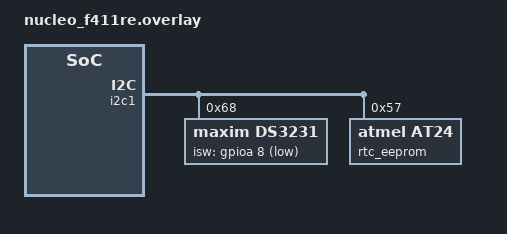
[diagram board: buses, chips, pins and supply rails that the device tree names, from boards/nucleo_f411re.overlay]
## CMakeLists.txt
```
# SPDX-License-Identifier: Apache-2.0

zephyr_include_directories(.
                           src)

FILE(GLOB app_sources src/*.c)
target_sources(app PRIVATE ${app_sources})
```

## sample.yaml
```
common:
  filter: TOOLCHAIN_HAS_NEWLIB == 1
sample:
  name: RTC module
tests:
  sample.basic.maxim_ds3231:
    build_only: true
    platform_allow:      
      - nucleo_f411re     
    integration_platforms:
      - efr32mg_sltb004a
```

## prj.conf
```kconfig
CONFIG_PRINTK=y
CONFIG_EEPROM=y
CONFIG_I2C=y
CONFIG_COUNTER=y
CONFIG_COUNTER_MAXIM_DS3231=y
CONFIG_COUNTER_INIT_PRIORITY=65
CONFIG_EEPROM_AT24=y
CONFIG_EEPROM_INIT_PRIORITY=75
CONFIG_SHELL=y
CONFIG_SHELL_PRINTF_BUFF_SIZE=512

# Minimal libc doesn't have strftime()
CONFIG_NEWLIB_LIBC=y

# Optional step that syncs RTC and local clock.  Don't enable this if
# your RTC has already been synchronized and you want to keep its
# setting.
CONFIG_APP_SET_ALIGNED_CLOCK=y

#CONFIG_LOG=y
#CONFIG_COUNTER_LOG_LEVEL_DBG=y
```

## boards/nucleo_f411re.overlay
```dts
/*
 * Copyright (c) 2019 Peter Bigot Consulting, LLC
 *
 * SPDX-License-Identifier: Apache-2.0
 */

&i2c1 { /* SDA CN5.9=PB8, SCL CN5.10=PB9, ISW CN5.1=D8=PA9 */
	status = "okay";
	ds3231: ds3231@68 {
		compatible = "maxim,ds3231";
		reg = <0x68>;
		isw-gpios = <&gpioa 8 (GPIO_PULL_UP | GPIO_ACTIVE_LOW)>;
	};
	rtc_eeprom: eeprom@57 {
        compatible = "atmel,at24";
        reg = <0x57>;
		address-width = <16>;
		timeout = <5>;
        pagesize = <32>;
        size = <4096>;
    };
};
```

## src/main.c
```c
/*
 * Copyright (c) 2019-2020 Peter Bigot Consulting, LLC
 *
 * SPDX-License-Identifier: Apache-2.0
 */

#include <stdio.h>

#include <zephyr/kernel.h>
#include <zephyr/device.h>
#include <zephyr/drivers/counter.h>
#include <zephyr/sys/printk.h>
#include <zephyr/drivers/rtc/maxim_ds3231.h>
#include <zephyr/shell/shell.h>

#include "eeprom_memory.h"
#include "rtc.h"

#define GET_TIME_PERIOD_MS	K_MSEC(1000)

static const struct device *ds3231;
static const struct device *eeprom;

static int cmd_get_time(const struct shell *sh, size_t argc, char **argv)
{
	ARG_UNUSED(argc);
	ARG_UNUSED(argv);

	shell_print(sh, "Current time is %u: %s\n", get_current_time(ds3231), format_time(get_current_time(ds3231), -1));

	return 0;
}

static int cmd_set_time(const struct shell *sh, size_t argc, char **argv)
{
	shell_print(sh, "Input string is: %s %s\n", argv[1], argv[2]);

	struct tm tm_time = { 0 };

	sscanf(argv[1], "%d-%d-%d",
        &tm_time.tm_year, &tm_time.tm_mon, &tm_time.tm_mday);

	sscanf(argv[2], "%d:%d:%d",
        &tm_time.tm_hour, &tm_time.tm_min, &tm_time.tm_sec);

	tm_time.tm_year -= 1900; // Year - 1900
    tm_time.tm_mon -= 1;     // Months starts from 0

	time_t utc_time = mktime(&tm_time);

	shell_print(sh, "Parsed UTC Time: %u, %s\n", (uint32_t)utc_time, format_time(utc_time, -1));

	set_current_time(ds3231, utc_time);

	return 0;
}

static int cmd_get_shutdown_time(const struct shell *sh, size_t argc, char **argv)
{
	ARG_UNUSED(argc);
	ARG_UNUSED(argv);
	
	shell_print(sh, "Previous shutdown time is %u: %s\n", get_previous_shutdown_time(), format_time(get_previous_shutdown_time(), -1));

	return 0;
}

int main(void)
{
	ds3231 = DEVICE_DT_GET_ONE(maxim_ds3231);
	eeprom = get_eeprom_device();

	SHELL_STATIC_SUBCMD_SET_CREATE(rtc_time,
		SHELL_CMD(get_time, NULL, "Get current time.", cmd_get_time),
		SHELL_CMD(set_time, NULL, "Set current time. input string should be in format YYYY-MM-DD HH:MM:SS", cmd_set_time),
		SHELL_CMD(get_shutdown_time, NULL, "Get last shutdown_time.", cmd_get_shutdown_time),
		SHELL_SUBCMD_SET_END /* Array terminated. */
	);

	SHELL_CMD_REGISTER(rtc, &rtc_time, "RTC control commands", NULL);

	if (rtc_stat_update(ds3231) == 0)
	{
		/*In this place we exit if device not ready*/
		return 0;
	}
	
	compare_previous_time(eeprom, get_current_time(ds3231));

	for (;;)
	{		
		#if 0
		printk("Now %u: %s\n", now, format_time(now, -1));
		#endif
		set_previous_time(eeprom, get_current_time(ds3231));
		k_sleep(GET_TIME_PERIOD_MS);
	}
	//Never reached	
	k_sleep(K_FOREVER);
	return 0;
}
```

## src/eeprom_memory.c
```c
#include "eeprom_memory.h"

#include <zephyr/drivers/counter.h>
#include <zephyr/sys/printk.h>
#include <zephyr/drivers/eeprom.h>

#define EEPROM_RTC_MEMORY_OFFSET 0

static uint32_t previous_shutdown_time = 0;

/**
       * Function for get EEPROM device from dtm
       * @return Pointer to device structure. If womething goes wrong - return NULL
       */
const struct device *get_eeprom_device(void)
{
	const struct device *const dev = DEVICE_DT_GET_ONE(atmel_at24);
    size_t eeprom_size = 0;
    
	if (!device_is_ready(dev)) {
		printk("\nError: Device \"%s\" is not ready; "
		       "check the driver initialization logs for errors.\n",
		       dev->name);
		return NULL;
	}

	printk("Found EEPROM device \"%s\"\n", dev->name);

    eeprom_size = eeprom_get_size(dev);
	printk("Using eeprom with size of: %zu.\n", eeprom_size);

	return dev;
}

/**
       * Function for compare current time with las time, stored in eeprom memory
       * @param eeprom_device EEPROM device structure pointer.
       * @param now Current time value.
       * @return Time different in seconds
       */
uint32_t compare_previous_time (const struct device * eeprom_device, uint32_t now)
{
	uint32_t readed_value = 0;
	uint32_t time_different = 0;
	int rc = 0;
	rc = eeprom_read(eeprom_device, EEPROM_RTC_MEMORY_OFFSET, &readed_value, sizeof(uint32_t));
	
	if (rc < 0) {
		printk("Error: Couldn't read eeprom: err: %d.\n", rc);
		return 0;
	}
	else
	{
		printk("Readed value is: %d. now value is: %d.\n", readed_value, now);
		if ((now - readed_value) > 0)
		{
            previous_shutdown_time = readed_value;
			time_different = now - readed_value;
			printk("Downtime is: %02d m %02ds. \n", time_different / 60, time_different % 60);
		}
		
		return time_different;
	}
}

/**
       * Function for store current time as last written time
       * @param now Current time value.
       * @return 0 if eeprom write command is OK, error code if not
       */
int set_previous_time (const struct device * eeprom_device, uint32_t now)
{
    int rc = 0;
    rc = eeprom_write(eeprom_device, EEPROM_RTC_MEMORY_OFFSET, &now, sizeof(uint32_t));
	if (rc < 0) 
    {
	    printk("Error: Couldn't write eeprom: err:%d.\n", rc);
	}
    return rc;
}

/**
       * Function for get last shutdown time
       * @return last shutdown time
       */
uint32_t get_previous_shutdown_time (void)
{
    return previous_shutdown_time;
}
```

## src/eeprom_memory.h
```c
#ifndef EEPROM_MEMORY_H
#define EEPROM_MEMORY_H

#include <zephyr/kernel.h>
#include <zephyr/device.h>

const struct device *get_eeprom_device(void);
uint32_t compare_previous_time (const struct device * eeprom_device, uint32_t now);
int set_previous_time (const struct device * eeprom_device, uint32_t now);
uint32_t get_previous_shutdown_time (void);

#endif
```

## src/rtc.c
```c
#include "rtc.h"

K_MUTEX_DEFINE(time_mutex);

/**
       * Function for format times as: YYYY-MM-DD HH:MM:SS DOW DOY
       * @param time Current time.
       * @param nsec Current time ns value.
       * @return Pointer to formatted string
       */
const char *format_time(time_t time, long nsec)
{
	static char buf[64];
	char *bp = buf;
	char *const bpe = bp + sizeof(buf);
	struct tm tv;
	struct tm *tp = gmtime_r(&time, &tv);

	bp += strftime(bp, bpe - bp, "%Y-%m-%d %H:%M:%S", tp);
	if (nsec >= 0) 
    {
		bp += snprintf(bp, bpe - bp, ".%09lu", nsec);
	}
	bp += strftime(bp, bpe - bp, " %a %j", tp);
	return buf;
}

/**
       * Function for check RTC device status
       * @param rtc_device Pointer to RTC device structure.
       * @return Result of operation
       */
int rtc_stat_update (const struct device * rtc_device)
{
    int rc = 0;

	if (!device_is_ready(rtc_device)) {
		printk("%s: device not ready.\n", rtc_device->name);
		return rc;
	}

    rc = maxim_ds3231_stat_update(rtc_device, 0, MAXIM_DS3231_REG_STAT_OSF);

	if (rc >= 0) 
    {
		printk("DS3231 has%s experienced an oscillator fault\n",
		       (rc & MAXIM_DS3231_REG_STAT_OSF) ? "" : " not");
	} else 
    {
		printk("DS3231 stat fetch failed: %d\n", rc);
		
	}

    return rc;
}

/**
       * Function for get current time value from RTC
       * @return Current time
       */
uint32_t get_current_time(const struct device * rtc_device)
{
    uint32_t current_time = 0;
    counter_get_value(rtc_device, &current_time);
    return current_time;
}

/**
       * Function for get current time value from RTC
       * @param rtc_device Pointer to RTC device structure.
       * @param current_time Current time value
       * @return Operation result code
       */
int set_current_time (const struct device * rtc_device, time_t current_time)
{
    uint32_t syncclock_Hz = maxim_ds3231_syncclock_frequency(rtc_device);
	uint32_t syncclock = maxim_ds3231_read_syncclock(rtc_device);
	int rc = 0;

    struct k_poll_signal ss;
	struct sys_notify notify;
	struct k_poll_event sevt = K_POLL_EVENT_INITIALIZER(K_POLL_TYPE_SIGNAL,
							    K_POLL_MODE_NOTIFY_ONLY,
							    &ss);

	struct maxim_ds3231_syncpoint sp = {
		.rtc = {
			.tv_sec = current_time,
			.tv_nsec = 0,
		},
		.syncclock = syncclock,
	};

    k_poll_signal_init(&ss);
	sys_notify_init_signal(&notify, &ss);

	rc = maxim_ds3231_set(rtc_device, &sp, &notify);

    /* Wait for the set to complete. It should never take more than one second */
	rc = k_poll(&sevt, 1, K_MSEC(1000));
	rc = maxim_ds3231_get_syncpoint(rtc_device, &sp);

    printk("wrote sync %d: %u %u at %u", rc,
	       (uint32_t)sp.rtc.tv_sec, (uint32_t)sp.rtc.tv_nsec,
	       sp.syncclock);

    return rc;
}
```

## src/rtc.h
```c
#ifndef RTC_H
#define RTC_H

#include <zephyr/kernel.h>
#include <zephyr/device.h>
#include <zephyr/drivers/counter.h>
#include <zephyr/sys/printk.h>
#include <zephyr/drivers/rtc/maxim_ds3231.h>

const char *format_time(time_t time, long nsec);
int rtc_stat_update (const struct device * rtc_device);
uint32_t get_current_time(const struct device * rtc_device);
int set_current_time (const struct device * rtc_device, time_t current_time);

#endif
```

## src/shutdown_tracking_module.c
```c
/*
 * Copyright (c) 2019-2020 Peter Bigot Consulting, LLC
 *
 * SPDX-License-Identifier: Apache-2.0
 */

#include <stdio.h>

#include <zephyr/kernel.h>
#include <zephyr/device.h>
#include <zephyr/drivers/counter.h>
#include <zephyr/sys/printk.h>
#include <zephyr/drivers/rtc/maxim_ds3231.h>
#include <zephyr/shell/shell.h>

#include "eeprom_memory.h"
#include "rtc.h"

#define GET_TIME_PERIOD_MS	K_MSEC(1000)

static const struct device *ds3231;
static const struct device *eeprom;

static int cmd_get_time(const struct shell *sh, size_t argc, char **argv)
{
	ARG_UNUSED(argc);
	ARG_UNUSED(argv);

	shell_print(sh, "Current time is %u: %s\n", get_current_time(ds3231), format_time(get_current_time(ds3231), -1));

	return 0;
}

static int cmd_set_time(const struct shell *sh, size_t argc, char **argv)
{
	shell_print(sh, "Input string is: %s %s\n", argv[1], argv[2]);

	struct tm tm_time = { 0 };

	sscanf(argv[1], "%d-%d-%d",
        &tm_time.tm_year, &tm_time.tm_mon, &tm_time.tm_mday);

	sscanf(argv[2], "%d:%d:%d",
        &tm_time.tm_hour, &tm_time.tm_min, &tm_time.tm_sec);

	tm_time.tm_year -= 1900; // Year - 1900
    tm_time.tm_mon -= 1;     // Months starts from 0

	time_t utc_time = mktime(&tm_time);

	shell_print(sh, "Parsed UTC Time: %u, %s\n", (uint32_t)utc_time, format_time(utc_time, -1));

	set_current_time(ds3231, utc_time);

	return 0;
}

static int cmd_get_shutdown_time(const struct shell *sh, size_t argc, char **argv)
{
	ARG_UNUSED(argc);
	ARG_UNUSED(argv);
	
	shell_print(sh, "Previous shutdown time is %u: %s\n", get_previous_shutdown_time(), format_time(get_previous_shutdown_time(), -1));

	return 0;
}

int shutdown_tracking_module(void)
{
	ds3231 = DEVICE_DT_GET_ONE(maxim_ds3231);
	eeprom = get_eeprom_device();

	SHELL_STATIC_SUBCMD_SET_CREATE(rtc_time,
		SHELL_CMD(get_time, NULL, "Get current time.", cmd_get_time),
		SHELL_CMD(set_time, NULL, "Set current time. input string should be in format YYYY-MM-DD HH:MM:SS", cmd_set_time),
		SHELL_CMD(get_shutdown_time, NULL, "Get last shutdown_time.", cmd_get_shutdown_time),
		SHELL_SUBCMD_SET_END /* Array terminated. */
	);

	SHELL_CMD_REGISTER(rtc, &rtc_time, "RTC control commands", NULL);

	if (rtc_stat_update(ds3231) == 0)
	{
		/*In this place we exit if device not ready*/
		return 0;
	}
	
	compare_previous_time(eeprom, get_current_time(ds3231));

	for (;;)
	{		
		#if 0
		printk("Now %u: %s\n", now, format_time(now, -1));
		#endif
		set_previous_time(eeprom, get_current_time(ds3231));
		k_sleep(GET_TIME_PERIOD_MS);
	}
	//Never reached	
	k_sleep(K_FOREVER);
	return 0;
}
```

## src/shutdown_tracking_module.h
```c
#ifndef SHUTDOWN_TRACKING_MODULE_H
#define SHUTDOWN_TRACKING_MODULE_H

int shutdown_tracking_module(void);

#endif
```
